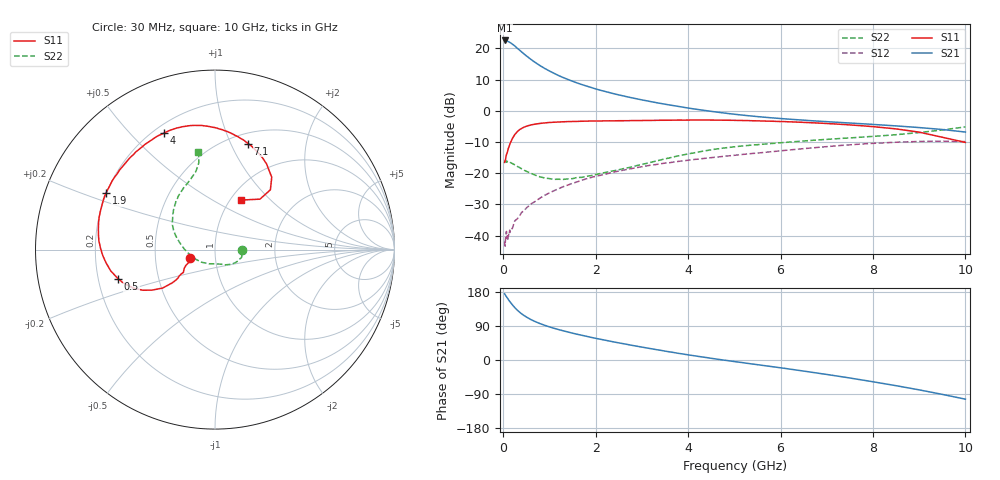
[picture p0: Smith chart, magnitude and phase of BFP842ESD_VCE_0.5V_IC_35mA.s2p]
! Infineon Technologies  Discrete & RF Semiconductors
! BFP842ESD
! VCE =  0.5 V,  IC =  35 mA
! Common Emitter S-Parameters:  May 2012
# GHz  S  MA  R  50
!  f  S11  S21  S12  S22
! GHz  MAG  ANG  MAG  ANG  MAG  ANG  MAG  ANG
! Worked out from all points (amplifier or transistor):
!   99 points, 30 MHz to 10 GHz, reference 50 ohm
!   highest |S21| = 22.5 dB at 30 MHz (marker M1)
!   |S21| within 3 dB of that: start of sweep to 345.6 MHz
!   unconditionally stable (mu >= 1): start of sweep to end of sweep
!   at 350 MHz: K = 1.96, MAG = 21.0 dB, |S12| = -33.7 dB
!   at 3.5 GHz: K = 1.46, MAG = 5.4 dB, |S12| = -16.8 dB
!   at 10 GHz: K = 2.05, MAG = -4.3 dB, |S12| = -9.9 dB
!   S11 on the Smith chart (normalised r, x): 30 MHz: 0.75, -0.07; 500 MHz: 0.28, -0.14; 1.9 GHz: 0.20, +0.24; 4 GHz: 0.24, +0.63; 7.1 GHz: 0.61, +1.16; 10 GHz: 1.12, +0.68
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0.03  0.1489 -161.1  13.33 174.7  0.008 19.5  0.1503 0.2
0.06  0.185 -151.4  13.3 168.7  0.0104 34.7  0.1574 -7.5
0.13  0.2733 -142.1  12.53 156.3  0.0102 43.2  0.1529 -17.7
0.2  0.3616 -143.7  11.63 145.4  0.0133 49.9  0.1426 -26.0
0.25  0.4152 -147.1  10.89 138.3  0.0173 50.0  0.1361 -31.7
0.35  0.4949 -153.9  9.381 126.6  0.0206 58.6  0.1236 -41.2
0.4  0.5223 -157.3  8.714 121.7  0.0237 58.7  0.1174 -44.6
0.5  0.5639 -163.3  7.564 113.5  0.0277 60.7  0.1073 -51.6
0.6  0.5931 -168.5  6.631 106.7  0.0322 58.9  0.0997 -58.3
0.7  0.612 -173.2  5.873 100.9  0.0357 59.2  0.0927 -62.7
0.9  0.6388 179.0  4.744 91.5  0.0444 59.1  0.0839 -73.8
1.2  0.6602 169.8  3.653 80.2  0.0567 57.3  0.0801 -90.4
1.7  0.679 157.1  2.626 65.3  0.0771 52.3  0.0859 -115.9
1.9  0.6844 152.5  2.36 59.8  0.0854 50.0  0.0916 -125.0
2.5  0.6922 140.3  1.793 45.2  0.1083 42.4  0.1136 -148.7
3.4  0.7042 123.6  1.312 25.7  0.1415 29.9  0.1628 -178.2
4  0.709 113.4  1.105 13.6  0.1614 21.7  0.2038 167.9
5.1  0.6997 98.5  0.863 -5.7  0.197 6.3  0.2694 151.0
6.7  0.6414 78.4  0.69 -32.8  0.2549 -18.4  0.3364 131.4
7.1  0.6187 72.7  0.662 -40.0  0.2702 -25.7  0.3518 127.0
8.5  0.5123 51.9  0.572 -67.8  0.3135 -55.7  0.4135 109.4
10  0.3112 62.5  0.456 -103.4  0.3204 -96.5  0.5514 99.6
